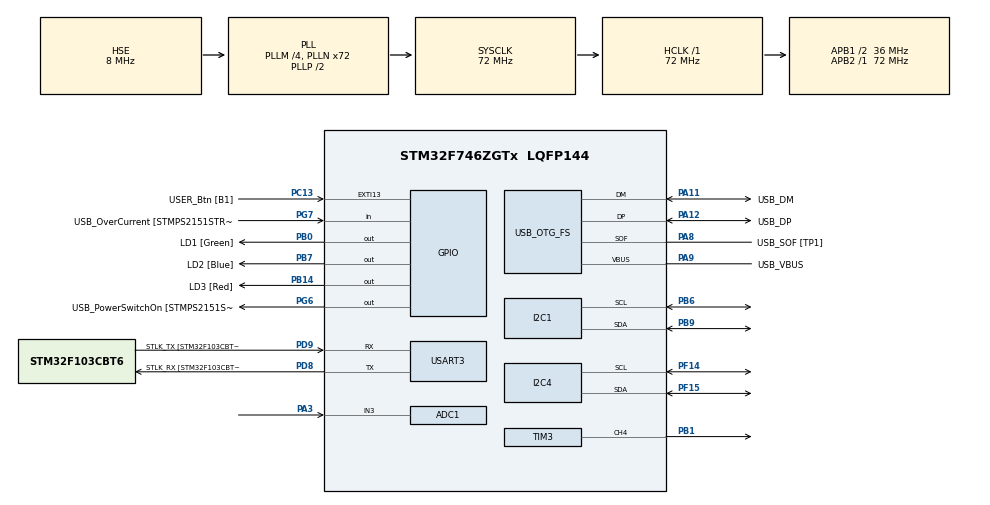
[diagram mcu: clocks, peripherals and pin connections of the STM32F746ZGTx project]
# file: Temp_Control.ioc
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ADC1.Channel-2\#ChannelRegularConversion=ADC_CHANNEL_3
ADC1.NbrOfConversionFlag=1
ADC1.Rank-2\#ChannelRegularConversion=1
ADC1.SamplingTime-2\#ChannelRegularConversion=ADC_SAMPLETIME_3CYCLES
ADC1.master=1
I2C1.Timing=0x00808CD2
I2C4.Timing=0x00808CD2
Mcu.Family=STM32F7
Mcu.Name=STM32F746ZGTx
Mcu.Package=LQFP144
NVIC.PriorityGroup=NVIC_PRIORITYGROUP_4
PA1.GPIO_Label=RMII_REF_CLK [LAN8742A-CZ-TR_REFCLK0]
PA1.Signal=ETH_REF_CLK
PA10.GPIO_Label=USB_ID
PA10.Signal=USB_OTG_FS_ID
PA11.GPIO_Label=USB_DM
PA11.Mode=Device_Only
PA11.Signal=USB_OTG_FS_DM
PA12.GPIO_Label=USB_DP
PA12.Mode=Device_Only
PA12.Signal=USB_OTG_FS_DP
PA13.GPIO_Label=TMS
PA13.Mode=Serial_Wire
PA13.Signal=SYS_JTMS-SWDIO
PA14.GPIO_Label=TCK
PA14.Mode=Serial_Wire
PA14.Signal=SYS_JTCK-SWCLK
PA2.GPIO_Label=RMII_MDIO [LAN8742A-CZ-TR_MDIO]
PA2.Signal=ETH_MDIO
PA3.Signal=ADCx_IN3
PA7.GPIO_Label=RMII_CRS_DV [LAN8742A-CZ-TR_CRS_DV]
PA7.Signal=ETH_CRS_DV
PA8.GPIO_Label=USB_SOF [TP1]
PA8.Mode=Activate_SOF_FS
PA8.Signal=USB_OTG_FS_SOF
PA9.GPIO_Label=USB_VBUS
PA9.Mode=Activate_VBUS
PA9.Signal=USB_OTG_FS_VBUS
PB0.GPIO_Label=LD1 [Green]
PB0.Signal=GPIO_Output
PB1.Signal=S_TIM3_CH4
PB13.GPIO_Label=RMII_TXD1 [LAN8742A-CZ-TR_TXD1]
PB13.Signal=ETH_TXD1
PB14.GPIO_Label=LD3 [Red]
PB14.Signal=GPIO_Output
PB3.GPIO_Label=SW0
PB3.Signal=SYS_JTDO-SWO
PB6.Mode=I2C
PB6.Signal=I2C1_SCL
PB7.GPIO_Label=LD2 [Blue]
PB7.Signal=GPIO_Output
PB9.Mode=I2C
PB9.Signal=I2C1_SDA
PC1.GPIO_Label=RMII_MDC [LAN8742A-CZ-TR_MDC]
PC1.Signal=ETH_MDC
PC13.GPIO_Label=USER_Btn [B1]
PC13.Signal=GPXTI13
PC14/OSC32_IN.Mode=LSE-External-Oscillator
PC14/OSC32_IN.Signal=RCC_OSC32_IN
PC15/OSC32_OUT.Mode=LSE-External-Oscillator
PC15/OSC32_OUT.Signal=RCC_OSC32_OUT
PC4.GPIO_Label=RMII_RXD0 [LAN8742A-CZ-TR_RXD0]
PC4.Signal=ETH_RXD0
PC5.GPIO_Label=RMII_RXD1 [LAN8742A-CZ-TR_RXD1]
PC5.Signal=ETH_RXD1
PD8.GPIO_Label=STLK_RX [STM32F103CBT6_PA3]
PD8.Mode=Asynchronous
PD8.Signal=USART3_TX
PD9.GPIO_Label=STLK_TX [STM32F103CBT6_PA2]
PD9.Mode=Asynchronous
PD9.Signal=USART3_RX
PF14.Mode=I2C
PF14.Signal=I2C4_SCL
PF15.Mode=I2C
PF15.Signal=I2C4_SDA
PG11.GPIO_Label=RMII_TX_EN [LAN8742A-CZ-TR_TXEN]
PG11.Signal=ETH_TX_EN
PG13.GPIO_Label=RMII_TXD0 [LAN8742A-CZ-TR_TXD0]
PG13.Signal=ETH_TXD0
PG6.GPIO_Label=USB_PowerSwitchOn [STMPS2151STR_EN]
PG6.Signal=GPIO_Output
PG7.GPIO_Label=USB_OverCurrent [STMPS2151STR_FAULT]
PG7.Signal=GPIO_Input
PH0/OSC_IN.GPIO_Label=MCO [STM32F103CBT6_PA8]
PH0/OSC_IN.Mode=HSE-External-Clock-Source
PH0/OSC_IN.Signal=RCC_OSC_IN
PH1/OSC_OUT.Mode=HSE-External-Clock-Source
PH1/OSC_OUT.Signal=RCC_OSC_OUT
ProjectManager.HeapSize=0x200
ProjectManager.StackSize=0x400
ProjectManager.TargetToolchain=STM32CubeIDE
RCC.48MHZClocksFreq_Value=24000000
RCC.AHBFreq_Value=72000000
RCC.APB1CLKDivider=RCC_HCLK_DIV2
RCC.APB1Freq_Value=36000000
RCC.APB1TimFreq_Value=72000000
RCC.APB2Freq_Value=72000000
RCC.APB2TimFreq_Value=72000000
RCC.CortexFreq_Value=72000000
RCC.HCLKFreq_Value=72000000
RCC.HSE_VALUE=8000000
RCC.HSI_VALUE=16000000
RCC.PLLM=4
RCC.PLLMUL=RCC_PLL_MUL9
RCC.PLLN=72
RCC.PLLQ=3
RCC.PRESCALERUSB=RCC_USBCLKSOURCE_PLL_DIV1_5
RCC.SYSCLKFreq_VALUE=72000000
RCC.SYSCLKSource=RCC_SYSCLKSOURCE_PLLCLK
RCC.SYSCLKSourceVirtual=RCC_SYSCLKSOURCE_PLLCLK
RCC.USBFreq_Value=48000000
RCC.VCOOutputFreq_Value=144000000
SH.ADCx_IN3.0=ADC1_IN3,IN3
SH.S_TIM3_CH4.0=TIM3_CH4,PWM Generation4 CH4
TIM3.Channel-PWM\ Generation4\ CH4=TIM_CHANNEL_4
TIM3.ClockDivision=TIM_CLOCKDIVISION_DIV1
TIM3.Period=999
TIM3.Prescaler=71
USART3.VirtualMode-Asynchronous=VM_ASYNC
USART3.WordLength=WORDLENGTH_8B
USB_OTG_FS.VirtualMode=Device_Only
board=NUCLEO-F746ZG

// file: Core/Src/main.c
/* USER CODE BEGIN Header */
/**
  ******************************************************************************
  * @file           : main.c
  * @brief          : Main program body
  ******************************************************************************
  * @attention
  *
  * Copyright (c) 2022 STMicroelectronics.
  * All rights reserved.
  *
  * This software is licensed under terms that can be found in the LICENSE file
  * in the root directory of this software component.
  * If no LICENSE file comes with this software, it is provided AS-IS.
  *
  ******************************************************************************
  */
/* USER CODE END Header */
#include "main.h"

/* USER CODE BEGIN Includes */

#include "BMPXX80.h"
#include "i2c-lcd.h"
#include <stdio.h>
#include <string.h>

/* USER CODE END Includes */

ADC_HandleTypeDef hadc1;

I2C_HandleTypeDef hi2c1;
I2C_HandleTypeDef hi2c4;

TIM_HandleTypeDef htim3;

UART_HandleTypeDef huart3;

PCD_HandleTypeDef hpcd_USB_OTG_FS;

/* USER CODE BEGIN PV */

float temperature, error, destination, p_integral, prev_error, u, P, I, D, Integral, Derrivatie;
int32_t pressure;
int AdcValue;
char text[16], text_LCD[16];

/* USER CODE END PV */

void SystemClock_Config(void);
static void MX_GPIO_Init(void);
static void MX_USART3_UART_Init(void);
static void MX_USB_OTG_FS_PCD_Init(void);
static void MX_I2C4_Init(void);
static void MX_I2C1_Init(void);
static void MX_ADC1_Init(void);
static void MX_TIM3_Init(void);

/* USER CODE BEGIN 0 */

float control(float, float, float, float, float, float);
void ADC_Read();
float destintion_calculate();
void display_LCD();
void uart_transmit();

/* USER CODE END 0 */

int main(void)
{

  /* MCU Configuration--------------------------------------------------------*/

  /* Reset of all peripherals, Initializes the Flash interface and the Systick. */
  HAL_Init();

  /* USER CODE BEGIN Init */

  lcd_init();
  BMP280_Init(&hi2c1, BMP280_TEMPERATURE_16BIT, BMP280_STANDARD, BMP280_FORCEDMODE);
  HAL_TIM_PWM_Start (&htim3, TIM_CHANNEL_4);

  /* USER CODE END Init */

  /* Configure the system clock */
  SystemClock_Config();

  /* Initialize all configured peripherals */
  MX_GPIO_Init();
  MX_USART3_UART_Init();
  MX_USB_OTG_FS_PCD_Init();
  MX_I2C4_Init();
  MX_I2C1_Init();
  MX_ADC1_Init();
  MX_TIM3_Init();

  /* Infinite loop */
  while (1)
  {

    /* USER CODE BEGIN 3 */

    ADC_Read();
    BMP280_ReadTemperatureAndPressure(&temperature, &pressure);

    destintion_calculate();
    u = control(125, 0.62, 1, (int) destination, temperature, 1);
    __HAL_TIM_SET_COMPARE(&htim3,TIM_CHANNEL_4, u);

    uart_transmit();

    display_LCD();
    HAL_Delay(1000);

  }
  /* USER CODE END 3 */
}

void SystemClock_Config(void)
{
  RCC_OscInitTypeDef RCC_OscInitStruct = {0};
  RCC_ClkInitTypeDef RCC_ClkInitStruct = {0};

  /** Configure LSE Drive Capability
  */
  HAL_PWR_EnableBkUpAccess();
  /** Configure the main internal regulator output voltage
  */
  __HAL_RCC_PWR_CLK_ENABLE();
  __HAL_PWR_VOLTAGESCALING_CONFIG(PWR_REGULATOR_VOLTAGE_SCALE3);
  /** Initializes the RCC Oscillators according to the specified parameters
  * in the RCC_OscInitTypeDef structure.
  */
  RCC_OscInitStruct.OscillatorType = RCC_OSCILLATORTYPE_HSE;
  RCC_OscInitStruct.HSEState = RCC_HSE_BYPASS;
  RCC_OscInitStruct.PLL.PLLState = RCC_PLL_ON;
  RCC_OscInitStruct.PLL.PLLSource = RCC_PLLSOURCE_HSE;
  RCC_OscInitStruct.PLL.PLLM = 4;
  RCC_OscInitStruct.PLL.PLLN = 72;
  RCC_OscInitStruct.PLL.PLLP = RCC_PLLP_DIV2;
  RCC_OscInitStruct.PLL.PLLQ = 3;
  if (HAL_RCC_OscConfig(&RCC_OscInitStruct) != HAL_OK)
  {
    Error_Handler();
  }
  /** Initializes the CPU, AHB and APB buses clocks
  */
  RCC_ClkInitStruct.ClockType = RCC_CLOCKTYPE_HCLK|RCC_CLOCKTYPE_SYSCLK
                              |RCC_CLOCKTYPE_PCLK1|RCC_CLOCKTYPE_PCLK2;
  RCC_ClkInitStruct.SYSCLKSource = RCC_SYSCLKSOURCE_PLLCLK;
  RCC_ClkInitStruct.AHBCLKDivider = RCC_SYSCLK_DIV1;
  RCC_ClkInitStruct.APB1CLKDivider = RCC_HCLK_DIV2;
  RCC_ClkInitStruct.APB2CLKDivider = RCC_HCLK_DIV1;

  if (HAL_RCC_ClockConfig(&RCC_ClkInitStruct, FLASH_LATENCY_2) != HAL_OK)
  {
    Error_Handler();
  }
}

static void MX_ADC1_Init(void)
{

  ADC_ChannelConfTypeDef sConfig = {0};

  /** Configure the global features of the ADC (Clock, Resolution, Data Alignment and number of conversion)
  */
  hadc1.Instance = ADC1;
  hadc1.Init.ClockPrescaler = ADC_CLOCK_SYNC_PCLK_DIV2;
  hadc1.Init.Resolution = ADC_RESOLUTION_12B;
  hadc1.Init.ScanConvMode = ADC_SCAN_DISABLE;
  hadc1.Init.ContinuousConvMode = DISABLE;
  hadc1.Init.DiscontinuousConvMode = DISABLE;
  hadc1.Init.ExternalTrigConvEdge = ADC_EXTERNALTRIGCONVEDGE_NONE;
  hadc1.Init.ExternalTrigConv = ADC_SOFTWARE_START;
  hadc1.Init.DataAlign = ADC_DATAALIGN_RIGHT;
  hadc1.Init.NbrOfConversion = 1;
  hadc1.Init.DMAContinuousRequests = DISABLE;
  hadc1.Init.EOCSelection = ADC_EOC_SINGLE_CONV;
  if (HAL_ADC_Init(&hadc1) != HAL_OK)
  {
    Error_Handler();
  }
  /** Configure for the selected ADC regular channel its corresponding rank in the sequencer and its sample time.
  */
  sConfig.Channel = ADC_CHANNEL_3;
  sConfig.Rank = ADC_REGULAR_RANK_1;
  sConfig.SamplingTime = ADC_SAMPLETIME_3CYCLES;
  if (HAL_ADC_ConfigChannel(&hadc1, &sConfig) != HAL_OK)
  {
    Error_Handler();
  }

}

static void MX_I2C1_Init(void)
{

  hi2c1.Instance = I2C1;
  hi2c1.Init.Timing = 0x00808CD2;
  hi2c1.Init.OwnAddress1 = 0;
  hi2c1.Init.AddressingMode = I2C_ADDRESSINGMODE_7BIT;
  hi2c1.Init.DualAddressMode = I2C_DUALADDRESS_DISABLE;
  hi2c1.Init.OwnAddress2 = 0;
  hi2c1.Init.OwnAddress2Masks = I2C_OA2_NOMASK;
  hi2c1.Init.GeneralCallMode = I2C_GENERALCALL_DISABLE;
  hi2c1.Init.NoStretchMode = I2C_NOSTRETCH_DISABLE;
  if (HAL_I2C_Init(&hi2c1) != HAL_OK)
  {
    Error_Handler();
  }
  /** Configure Analogue filter
  */
  if (HAL_I2CEx_ConfigAnalogFilter(&hi2c1, I2C_ANALOGFILTER_ENABLE) != HAL_OK)
  {
    Error_Handler();
  }
  /** Configure Digital filter
  */
  if (HAL_I2CEx_ConfigDigitalFilter(&hi2c1, 0) != HAL_OK)
  {
    Error_Handler();
  }

}

static void MX_I2C4_Init(void)
{

  hi2c4.Instance = I2C4;
  hi2c4.Init.Timing = 0x00808CD2;
  hi2c4.Init.OwnAddress1 = 0;
  hi2c4.Init.AddressingMode = I2C_ADDRESSINGMODE_7BIT;
  hi2c4.Init.DualAddressMode = I2C_DUALADDRESS_DISABLE;
  hi2c4.Init.OwnAddress2 = 0;
  hi2c4.Init.OwnAddress2Masks = I2C_OA2_NOMASK;
  hi2c4.Init.GeneralCallMode = I2C_GENERALCALL_DISABLE;
  hi2c4.Init.NoStretchMode = I2C_NOSTRETCH_DISABLE;
  if (HAL_I2C_Init(&hi2c4) != HAL_OK)
  {
    Error_Handler();
  }
  /** Configure Analogue filter
  */
  if (HAL_I2CEx_ConfigAnalogFilter(&hi2c4, I2C_ANALOGFILTER_ENABLE) != HAL_OK)
  {
    Error_Handler();
  }
  /** Configure Digital filter
  */
  if (HAL_I2CEx_ConfigDigitalFilter(&hi2c4, 0) != HAL_OK)
  {
    Error_Handler();
  }

}

static void MX_TIM3_Init(void)
{

  TIM_MasterConfigTypeDef sMasterConfig = {0};
  TIM_OC_InitTypeDef sConfigOC = {0};

  htim3.Instance = TIM3;
  htim3.Init.Prescaler = 71;
  htim3.Init.CounterMode = TIM_COUNTERMODE_UP;
  htim3.Init.Period = 999;
  htim3.Init.ClockDivision = TIM_CLOCKDIVISION_DIV1;
  htim3.Init.AutoReloadPreload = TIM_AUTORELOAD_PRELOAD_DISABLE;
  if (HAL_TIM_PWM_Init(&htim3) != HAL_OK)
  {
    Error_Handler();
  }
  sMasterConfig.MasterOutputTrigger = TIM_TRGO_RESET;
  sMasterConfig.MasterSlaveMode = TIM_MASTERSLAVEMODE_DISABLE;
  if (HAL_TIMEx_MasterConfigSynchronization(&htim3, &sMasterConfig) != HAL_OK)
  {
    Error_Handler();
  }
  sConfigOC.OCMode = TIM_OCMODE_PWM1;
  sConfigOC.Pulse = 0;
  sConfigOC.OCPolarity = TIM_OCPOLARITY_HIGH;
  sConfigOC.OCFastMode = TIM_OCFAST_DISABLE;
  if (HAL_TIM_PWM_ConfigChannel(&htim3, &sConfigOC, TIM_CHANNEL_4) != HAL_OK)
  {
    Error_Handler();
  }
  HAL_TIM_MspPostInit(&htim3);

}

static void MX_USART3_UART_Init(void)
{

  huart3.Instance = USART3;
  huart3.Init.BaudRate = 115200;
  huart3.Init.WordLength = UART_WORDLENGTH_8B;
  huart3.Init.StopBits = UART_STOPBITS_1;
  huart3.Init.Parity = UART_PARITY_NONE;
  huart3.Init.Mode = UART_MODE_TX_RX;
  huart3.Init.HwFlowCtl = UART_HWCONTROL_NONE;
  huart3.Init.OverSampling = UART_OVERSAMPLING_16;
  huart3.Init.OneBitSampling = UART_ONE_BIT_SAMPLE_DISABLE;
  huart3.AdvancedInit.AdvFeatureInit = UART_ADVFEATURE_NO_INIT;
  if (HAL_UART_Init(&huart3) != HAL_OK)
  {
    Error_Handler();
  }

}

static void MX_USB_OTG_FS_PCD_Init(void)
{

  hpcd_USB_OTG_FS.Instance = USB_OTG_FS;
  hpcd_USB_OTG_FS.Init.dev_endpoints = 6;
  hpcd_USB_OTG_FS.Init.speed = PCD_SPEED_FULL;
  hpcd_USB_OTG_FS.Init.dma_enable = DISABLE;
  hpcd_USB_OTG_FS.Init.phy_itface = PCD_PHY_EMBEDDED;
  hpcd_USB_OTG_FS.Init.Sof_enable = ENABLE;
  hpcd_USB_OTG_FS.Init.low_power_enable = DISABLE;
  hpcd_USB_OTG_FS.Init.lpm_enable = DISABLE;
  hpcd_USB_OTG_FS.Init.vbus_sensing_enable = ENABLE;
  hpcd_USB_OTG_FS.Init.use_dedicated_ep1 = DISABLE;
  if (HAL_PCD_Init(&hpcd_USB_OTG_FS) != HAL_OK)
  {
    Error_Handler();
  }

}

static void MX_GPIO_Init(void)
{
  GPIO_InitTypeDef GPIO_InitStruct = {0};

  /* GPIO Ports Clock Enable */
  __HAL_RCC_GPIOC_CLK_ENABLE();
  __HAL_RCC_GPIOH_CLK_ENABLE();
  __HAL_RCC_GPIOA_CLK_ENABLE();
  __HAL_RCC_GPIOB_CLK_ENABLE();
  __HAL_RCC_GPIOF_CLK_ENABLE();
  __HAL_RCC_GPIOD_CLK_ENABLE();
  __HAL_RCC_GPIOG_CLK_ENABLE();

  /*Configure GPIO pin Output Level */
  HAL_GPIO_WritePin(GPIOB, LD1_Pin|LD3_Pin|LD2_Pin, GPIO_PIN_RESET);

  /*Configure GPIO pin Output Level */
  HAL_GPIO_WritePin(USB_PowerSwitchOn_GPIO_Port, USB_PowerSwitchOn_Pin, GPIO_PIN_RESET);

  /*Configure GPIO pin : USER_Btn_Pin */
  GPIO_InitStruct.Pin = USER_Btn_Pin;
  GPIO_InitStruct.Mode = GPIO_MODE_IT_RISING;
  GPIO_InitStruct.Pull = GPIO_NOPULL;
  HAL_GPIO_Init(USER_Btn_GPIO_Port, &GPIO_InitStruct);

  /*Configure GPIO pins : RMII_MDC_Pin RMII_RXD0_Pin RMII_RXD1_Pin */
  GPIO_InitStruct.Pin = RMII_MDC_Pin|RMII_RXD0_Pin|RMII_RXD1_Pin;
  GPIO_InitStruct.Mode = GPIO_MODE_AF_PP;
  GPIO_InitStruct.Pull = GPIO_NOPULL;
  GPIO_InitStruct.Speed = GPIO_SPEED_FREQ_VERY_HIGH;
  GPIO_InitStruct.Alternate = GPIO_AF11_ETH;
  HAL_GPIO_Init(GPIOC, &GPIO_InitStruct);

  /*Configure GPIO pins : RMII_REF_CLK_Pin RMII_MDIO_Pin RMII_CRS_DV_Pin */
  GPIO_InitStruct.Pin = RMII_REF_CLK_Pin|RMII_MDIO_Pin|RMII_CRS_DV_Pin;
  GPIO_InitStruct.Mode = GPIO_MODE_AF_PP;
  GPIO_InitStruct.Pull = GPIO_NOPULL;
  GPIO_InitStruct.Speed = GPIO_SPEED_FREQ_VERY_HIGH;
  GPIO_InitStruct.Alternate = GPIO_AF11_ETH;
  HAL_GPIO_Init(GPIOA, &GPIO_InitStruct);

  /*Configure GPIO pins : LD1_Pin LD3_Pin LD2_Pin */
  GPIO_InitStruct.Pin = LD1_Pin|LD3_Pin|LD2_Pin;
  GPIO_InitStruct.Mode = GPIO_MODE_OUTPUT_PP;
  GPIO_InitStruct.Pull = GPIO_NOPULL;
  GPIO_InitStruct.Speed = GPIO_SPEED_FREQ_LOW;
  HAL_GPIO_Init(GPIOB, &GPIO_InitStruct);

  /*Configure GPIO pin : RMII_TXD1_Pin */
  GPIO_InitStruct.Pin = RMII_TXD1_Pin;
  GPIO_InitStruct.Mode = GPIO_MODE_AF_PP;
  GPIO_InitStruct.Pull = GPIO_NOPULL;
  GPIO_InitStruct.Speed = GPIO_SPEED_FREQ_VERY_HIGH;
  GPIO_InitStruct.Alternate = GPIO_AF11_ETH;
  HAL_GPIO_Init(RMII_TXD1_GPIO_Port, &GPIO_InitStruct);

  /*Configure GPIO pin : USB_PowerSwitchOn_Pin */
  GPIO_InitStruct.Pin = USB_PowerSwitchOn_Pin;
  GPIO_InitStruct.Mode = GPIO_MODE_OUTPUT_PP;
  GPIO_InitStruct.Pull = GPIO_NOPULL;
  GPIO_InitStruct.Speed = GPIO_SPEED_FREQ_LOW;
  HAL_GPIO_Init(USB_PowerSwitchOn_GPIO_Port, &GPIO_InitStruct);

  /*Configure GPIO pin : USB_OverCurrent_Pin */
  GPIO_InitStruct.Pin = USB_OverCurrent_Pin;
  GPIO_InitStruct.Mode = GPIO_MODE_INPUT;
  GPIO_InitStruct.Pull = GPIO_NOPULL;
  HAL_GPIO_Init(USB_OverCurrent_GPIO_Port, &GPIO_InitStruct);

  /*Configure GPIO pins : RMII_TX_EN_Pin RMII_TXD0_Pin */
  GPIO_InitStruct.Pin = RMII_TX_EN_Pin|RMII_TXD0_Pin;
  GPIO_InitStruct.Mode = GPIO_MODE_AF_PP;
  GPIO_InitStruct.Pull = GPIO_NOPULL;
  GPIO_InitStruct.Speed = GPIO_SPEED_FREQ_VERY_HIGH;
  GPIO_InitStruct.Alternate = GPIO_AF11_ETH;
  HAL_GPIO_Init(GPIOG, &GPIO_InitStruct);

}

/* USER CODE BEGIN 4 */

void ADC_Read()
{
  HAL_ADC_Start(&hadc1);
  HAL_ADC_PollForConversion(&hadc1, HAL_MAX_DELAY);
  AdcValue = HAL_ADC_GetValue(&hadc1);
}

float destintion_calculate()
{
  destination = 20*AdcValue/4095+20;
  return destination;
}

float control(float Kp, float Ki, float Kd, float destination, float temperature, float dt)
{

  error = destination - temperature;

  P = Kp*error;

  Integral = p_integral + (error + prev_error);
  p_integral = Integral;
  I = Ki*Integral*(dt/2);

  Derrivatie = (error - prev_error)/dt;
  prev_error = error;
  D = Kd*Derrivatie;

  u = P + I + D;

  if(u > 999) u = 999;
  else if(u < 0) u = 0;

  return u;
}

void display_LCD()
{
  //lcd_clear ();
  lcd_put_cur(0, 0);
  sprintf((char*)text_LCD, "Temp. %.2f C", temperature);
  lcd_send_string(text_LCD);
  lcd_put_cur(1, 0);
  sprintf((char*)text_LCD, "Temp. zad. %d C", (int) destination);
  lcd_send_string(text_LCD);
}

void uart_transmit()
{
  snprintf((char*)text, 16, ",%.2f, \n  %.2f, \n" , u/999, temperature);
  HAL_UART_Transmit(&huart3, (char*)text, strlen(text), 1000);
}

/* USER CODE END 4 */

void Error_Handler(void)
{
  __disable_irq();
  while (1)
  {
  }
}
